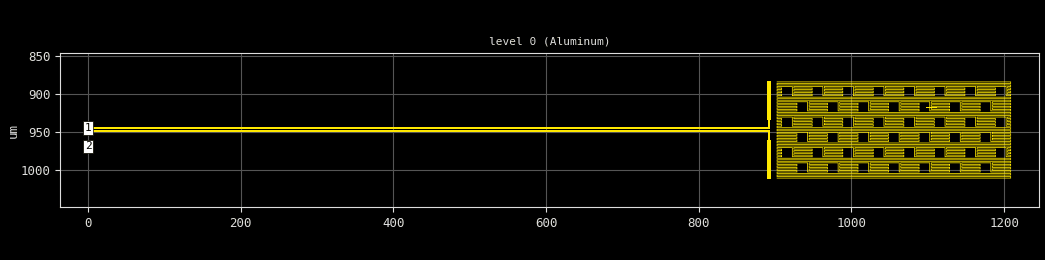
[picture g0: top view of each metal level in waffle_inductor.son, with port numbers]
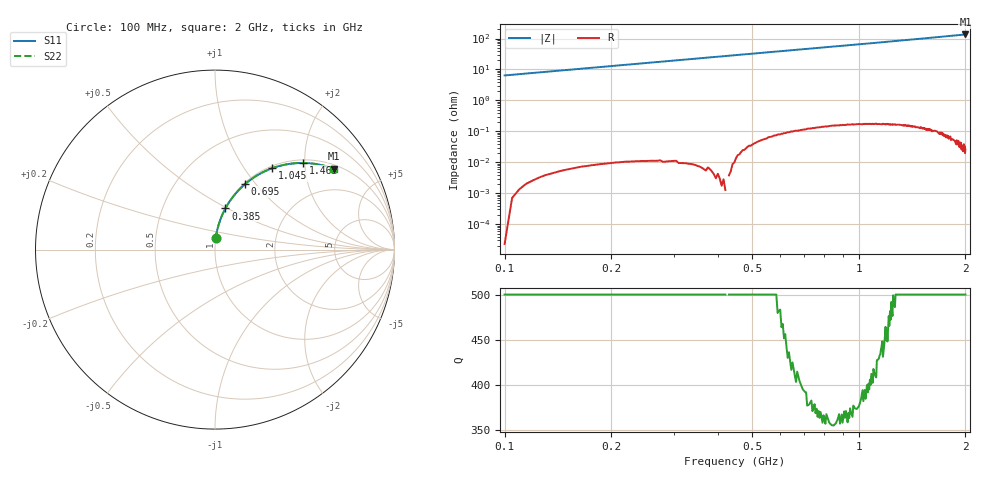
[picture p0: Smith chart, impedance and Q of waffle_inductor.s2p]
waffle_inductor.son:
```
FTYP SONPROJ 12 ! Sonnet Project File
VER 14.52
HEADER
LIC caltech1.1.46475
DAT 08/15/2018 22:09:38
BUILT_BY_CREATED dxf 14.52 08/15/2018 21:07:33
BUILT_BY_SAVED xgeom 14.52
MDATE 08/15/2018 22:09:38
HDATE 08/15/2018 22:08:19
ANN Created by dxfgeo, Sonnet Software Inc.
END HEADER
DIM
FREQ MHZ
IND NH
LNG UM
ANG DEG
CON /OH
CAP PF
RES OH
END DIM
FREQ
ABS 100.0 2000.0 
END FREQ
CONTROL
ABS
OPTIONS  -d 
SPEED 0
CACHE_ABS 1
TARG_ABS 300
Q_ACC N
END CONTROL
GEO
DRP1 LEFT FIX 479
TMET "Lossless" 0 SUP 0 0 0 0
BMET "Lossless" 0 SUP 0 0 0 0
MET "Aluminum" 12 SUP 0 0 0 0.24
MET "Niobium" 1 SUP 0 0 0 0.158
BOX 2 2000 2000 4000 4000 20 0
      2000 1 1 0 0 0 0 "Air"
      500 11.9 1 0.004 0 0.00044 0 "Silicon (intrinsic)"
      1651 4.8 1 0.025 0 0 0 "G-10"
TECHLAY METAL Aluminum L3D0 -1 0 
0 0 0 N 0 1 1 100 100 0 0 0 Y
END
END
TECHLAY METAL Niobium <UNSPECIFIED> -2 0 
0 0 1 N 0 1 1 100 100 0 0 0 Y
END
END
LORGN 0 2000 U 
POR1 STD
POLY 36 1
3
1 50 0 0 0 0 945 
POR1 STD
POLY 37 1
3
2 50 0 0 0 0 949 
NUM 10
0 1517 0 N 11 1 1 100 100 0 0 0 Y
TLAYNAM Aluminum INH
902 1011
902 1010
1208 1010
1208 1009
902 1009
902 1006
1208 1006
1208 1005
902 1005
902 1002
928 1002
928 1001
902 1001
902 998
928 998
928 997
902 997
902 994
928 994
928 993
902 993
902 990
943 990
943 1002
968 1002
968 1001
944 1001
944 998
968 998
968 997
944 997
944 994
968 994
968 993
944 993
944 990
983 990
983 1002
1008 1002
1008 1001
984 1001
984 998
1008 998
1008 997
984 997
984 994
1008 994
1008 993
984 993
984 990
1023 990
1023 1002
1048 1002
1048 1001
1024 1001
1024 998
1048 998
1048 997
1024 997
1024 994
1048 994
1048 993
1024 993
1024 990
1063 990
1063 1002
1088 1002
1088 1001
1064 1001
1064 998
1088 998
1088 997
1064 997
1064 994
1088 994
1088 993
1064 993
1064 990
1103 990
1103 1002
1128 1002
1128 1001
1104 1001
1104 998
1128 998
1128 997
1104 997
1104 994
1128 994
1128 993
1104 993
1104 990
1143 990
1143 1002
1168 1002
1168 1001
1144 1001
1144 998
1168 998
1168 997
1144 997
1144 994
1168 994
1168 993
1144 993
1144 990
1183 990
1183 1002
1208 1002
1208 1001
1184 1001
1184 998
1208 998
1208 997
1184 997
1184 994
1208 994
1208 993
1184 993
1184 990
1208 990
1208 989
902 989
902 986
1208 986
1208 985
902 985
902 982
908 982
908 981
902 981
902 978
908 978
908 977
902 977
902 974
908 974
908 973
902 973
902 970
923 970
923 982
948 982
948 981
924 981
924 978
948 978
948 977
924 977
924 974
948 974
948 973
924 973
924 970
963 970
963 982
988 982
988 981
964 981
964 978
988 978
988 977
964 977
964 974
988 974
988 973
964 973
964 970
1003 970
1003 982
1028 982
1028 981
1004 981
1004 978
1028 978
1028 977
1004 977
1004 974
1028 974
1028 973
1004 973
1004 970
1043 970
1043 982
1068 982
1068 981
1044 981
1044 978
1068 978
1068 977
1044 977
1044 974
1068 974
1068 973
1044 973
1044 970
1083 970
1083 982
1108 982
1108 981
1084 981
1084 978
1108 978
1108 977
1084 977
1084 974
1108 974
1108 973
1084 973
1084 970
1123 970
1123 982
1148 982
1148 981
1124 981
1124 978
1148 978
1148 977
1124 977
1124 974
1148 974
1148 973
1124 973
1124 970
1163 970
1163 982
1188 982
1188 981
1164 981
1164 978
1188 978
1188 977
1164 977
1164 974
1188 974
1188 973
1164 973
1164 970
1203 970
1203 982
1208 982
1208 981
1204 981
1204 978
1208 978
1208 977
1204 977
1204 974
1208 974
1208 973
1204 973
1204 970
1208 970
1208 969
902 969
902 966
1208 966
1208 965
902 965
902 962
928 962
928 961
902 961
902 958
928 958
928 957
902 957
902 954
928 954
928 953
902 953
902 950
943 950
943 962
968 962
968 961
944 961
944 958
968 958
968 957
944 957
944 954
968 954
968 953
944 953
944 950
983 950
983 962
1008 962
1008 961
984 961
984 958
1008 958
1008 957
984 957
984 954
1008 954
1008 953
984 953
984 950
1023 950
1023 962
1048 962
1048 961
1024 961
1024 958
1048 958
1048 957
1024 957
1024 954
1048 954
1048 953
1024 953
1024 950
1063 950
1063 962
1088 962
1088 961
1064 961
1064 958
1088 958
1088 957
1064 957
1064 954
1088 954
1088 953
1064 953
1064 950
1103 950
1103 962
1128 962
1128 961
1104 961
1104 958
1128 958
1128 957
1104 957
1104 954
1128 954
1128 953
1104 953
1104 950
1143 950
1143 962
1168 962
1168 961
1144 961
1144 958
1168 958
1168 957
1144 957
1144 954
1168 954
1168 953
1144 953
1144 950
1183 950
1183 962
1208 962
1208 961
1184 961
1184 958
1208 958
1208 957
1184 957
1184 954
1208 954
1208 953
1184 953
1184 950
1208 950
1208 949
902 949
902 946
1208 946
1208 945
902 945
902 942
908 942
908 941
902 941
902 938
908 938
908 937
902 937
902 934
908 934
908 933
902 933
902 930
923 930
923 942
948 942
948 941
924 941
924 938
948 938
948 937
924 937
924 934
948 934
948 933
924 933
924 930
963 930
963 942
988 942
988 941
964 941
964 938
988 938
988 937
964 937
964 934
988 934
988 933
964 933
964 930
1003 930
1003 942
1028 942
1028 941
1004 941
1004 938
1028 938
1028 937
1004 937
1004 934
1028 934
1028 933
1004 933
1004 930
1043 930
1043 942
1068 942
1068 941
1044 941
1044 938
1068 938
1068 937
1044 937
1044 934
1068 934
1068 933
1044 933
1044 930
1083 930
1083 942
1108 942
1108 941
1084 941
1084 938
1108 938
1108 937
1084 937
1084 934
1108 934
1108 933
1084 933
1084 930
1123 930
1123 942
1148 942
1148 941
1124 941
1124 938
1148 938
1148 937
1124 937
1124 934
1148 934
1148 933
1124 933
1124 930
1163 930
1163 942
1188 942
1188 941
1164 941
1164 938
1188 938
1188 937
1164 937
1164 934
1188 934
1188 933
1164 933
1164 930
1203 930
1203 942
1208 942
1208 941
1204 941
1204 938
1208 938
1208 937
1204 937
1204 934
1208 934
1208 933
1204 933
1204 930
1208 930
1208 929
902 929
902 926
1208 926
1208 925
902 925
902 922
928 922
928 921
902 921
902 918
928 918
928 917
902 917
902 914
928 914
928 913
902 913
902 910
943 910
943 922
968 922
968 921
944 921
944 918
968 918
968 917
944 917
944 914
968 914
968 913
944 913
944 910
983 910
983 922
1008 922
1008 921
984 921
984 918
1008 918
1008 917
984 917
984 914
1008 914
1008 913
984 913
984 910
1023 910
1023 922
1048 922
1048 921
1024 921
1024 918
1048 918
1048 917
1024 917
1024 914
1048 914
1048 913
1024 913
1024 910
1063 910
1063 922
1088 922
1088 921
1064 921
1064 918
1088 918
1088 917
1064 917
1064 914
1088 914
1088 913
1064 913
1064 910
1103 910
1103 922
1128 922
1128 921
1104 921
1104 918
1128 918
1128 917
1104 917
1104 914
1128 914
1128 913
1104 913
1104 910
1143 910
1143 922
1168 922
1168 921
1144 921
1144 918
1168 918
1168 917
1144 917
1144 914
1168 914
1168 913
1144 913
1144 910
1183 910
1183 922
1208 922
1208 921
1184 921
1184 918
1208 918
1208 917
1184 917
1184 914
1208 914
1208 913
1184 913
1184 910
1208 910
1208 909
902 909
902 906
1208 906
1208 905
902 905
902 902
908 902
908 901
902 901
902 898
908 898
908 897
902 897
902 894
908 894
908 893
902 893
902 890
923 890
923 902
948 902
948 901
924 901
924 898
948 898
948 897
924 897
924 894
948 894
948 893
924 893
924 890
963 890
963 902
988 902
988 901
964 901
964 898
988 898
988 897
964 897
964 894
988 894
988 893
964 893
964 890
1003 890
1003 902
1028 902
1028 901
1004 901
1004 898
1028 898
1028 897
1004 897
1004 894
1028 894
1028 893
1004 893
1004 890
1043 890
1043 902
1068 902
1068 901
1044 901
1044 898
1068 898
1068 897
1044 897
1044 894
1068 894
1068 893
1044 893
1044 890
1083 890
1083 902
1108 902
1108 901
1084 901
1084 898
1108 898
1108 897
1084 897
1084 894
1108 894
1108 893
1084 893
1084 890
1123 890
1123 902
1148 902
1148 901
1124 901
1124 898
1148 898
1148 897
1124 897
1124 894
1148 894
1148 893
1124 893
1124 890
1163 890
1163 902
1188 902
1188 901
1164 901
1164 898
1188 898
1188 897
1164 897
1164 894
1188 894
1188 893
1164 893
1164 890
1203 890
1203 902
1208 902
1208 901
1204 901
1204 898
1208 898
1208 897
1204 897
1204 894
1208 894
1208 893
1204 893
1204 890
1208 890
1208 889
902 889
902 886
1208 886
1208 885
902 885
902 884
1209 884
1209 887
903 887
903 888
1209 888
1209 891
1205 891
1205 892
1209 892
1209 895
1205 895
1205 896
1209 896
1209 899
1205 899
1205 900
1209 900
1209 903
1202 903
1202 891
1165 891
1165 892
1189 892
1189 895
1165 895
1165 896
1189 896
1189 899
1165 899
1165 900
1189 900
1189 903
1162 903
1162 891
1125 891
1125 892
1149 892
1149 895
1125 895
1125 896
1149 896
1149 899
1125 899
1125 900
1149 900
1149 903
1122 903
1122 891
1085 891
1085 892
1109 892
1109 895
1085 895
1085 896
1109 896
1109 899
1085 899
1085 900
1109 900
1109 903
1082 903
1082 891
1045 891
1045 892
1069 892
1069 895
1045 895
1045 896
1069 896
1069 899
1045 899
1045 900
1069 900
1069 903
1042 903
1042 891
1005 891
1005 892
1029 892
1029 895
1005 895
1005 896
1029 896
1029 899
1005 899
1005 900
1029 900
1029 903
1002 903
1002 891
965 891
965 892
989 892
989 895
965 895
965 896
989 896
989 899
965 899
965 900
989 900
989 903
962 903
962 891
925 891
925 892
949 892
949 895
925 895
925 896
949 896
949 899
925 899
925 900
949 900
949 903
922 903
922 891
903 891
903 892
909 892
909 895
903 895
903 896
909 896
909 899
903 899
903 900
909 900
909 903
903 903
903 904
1209 904
1209 907
903 907
903 908
1209 908
1209 911
1185 911
1185 912
1209 912
1209 915
1185 915
1185 916
1209 916
1209 919
1185 919
1185 920
1209 920
1209 923
1182 923
1182 911
1145 911
1145 912
1169 912
1169 915
1145 915
1145 916
1169 916
1169 919
1145 919
1145 920
1169 920
1169 923
1142 923
1142 911
1105 911
1105 912
1129 912
1129 915
1105 915
1105 916
1129 916
1129 919
1105 919
1105 920
1129 920
1129 923
1102 923
1102 911
1065 911
1065 912
1089 912
1089 915
1065 915
1065 916
1089 916
1089 919
1065 919
1065 920
1089 920
1089 923
1062 923
1062 911
1025 911
1025 912
1049 912
1049 915
1025 915
1025 916
1049 916
1049 919
1025 919
1025 920
1049 920
1049 923
1022 923
1022 911
985 911
985 912
1009 912
1009 915
985 915
985 916
1009 916
1009 919
985 919
985 920
1009 920
1009 923
982 923
982 911
945 911
945 912
969 912
969 915
945 915
945 916
969 916
969 919
945 919
945 920
969 920
969 923
942 923
942 911
903 911
903 912
929 912
929 915
903 915
903 916
929 916
929 919
903 919
903 920
929 920
929 923
903 923
903 924
1209 924
1209 927
903 927
903 928
1209 928
1209 931
1205 931
1205 932
1209 932
1209 935
1205 935
1205 936
1209 936
1209 939
1205 939
1205 940
1209 940
1209 943
1202 943
1202 931
1165 931
1165 932
1189 932
1189 935
1165 935
1165 936
1189 936
1189 939
1165 939
1165 940
1189 940
1189 943
1162 943
1162 931
1125 931
1125 932
1149 932
1149 935
1125 935
1125 936
1149 936
1149 939
1125 939
1125 940
1149 940
1149 943
1122 943
1122 931
1085 931
1085 932
1109 932
1109 935
1085 935
1085 936
1109 936
1109 939
1085 939
1085 940
1109 940
1109 943
1082 943
1082 931
1045 931
1045 932
1069 932
1069 935
1045 935
1045 936
1069 936
1069 939
1045 939
1045 940
1069 940
1069 943
1042 943
1042 931
1005 931
1005 932
1029 932
1029 935
1005 935
1005 936
1029 936
1029 939
1005 939
1005 940
1029 940
1029 943
1002 943
1002 931
965 931
965 932
989 932
989 935
965 935
965 936
989 936
989 939
965 939
965 940
989 940
989 943
962 943
962 931
925 931
925 932
949 932
949 935
925 935
925 936
949 936
949 939
925 939
925 940
949 940
949 943
922 943
922 931
903 931
903 932
909 932
909 935
903 935
903 936
909 936
909 939
903 939
903 940
909 940
909 943
903 943
903 944
1209 944
1209 947
903 947
903 948
1209 948
1209 951
1185 951
1185 952
1209 952
1209 955
1185 955
1185 956
1209 956
1209 959
1185 959
1185 960
1209 960
1209 963
1182 963
1182 951
1145 951
1145 952
1169 952
1169 955
1145 955
1145 956
1169 956
1169 959
1145 959
1145 960
1169 960
1169 963
1142 963
1142 951
1105 951
1105 952
1129 952
1129 955
1105 955
1105 956
1129 956
1129 959
1105 959
1105 960
1129 960
1129 963
1102 963
1102 951
1065 951
1065 952
1089 952
1089 955
1065 955
1065 956
1089 956
1089 959
1065 959
1065 960
1089 960
1089 963
1062 963
1062 951
1025 951
1025 952
1049 952
1049 955
1025 955
1025 956
1049 956
1049 959
1025 959
1025 960
1049 960
1049 963
1022 963
1022 951
985 951
985 952
1009 952
1009 955
985 955
985 956
1009 956
1009 959
985 959
985 960
1009 960
1009 963
982 963
982 951
945 951
945 952
969 952
969 955
945 955
945 956
969 956
969 959
945 959
945 960
969 960
969 963
942 963
942 951
903 951
903 952
929 952
929 955
903 955
903 956
929 956
929 959
903 959
903 960
929 960
929 963
903 963
903 964
1209 964
1209 967
903 967
903 968
1209 968
1209 971
1205 971
1205 972
1209 972
1209 975
1205 975
1205 976
1209 976
1209 979
1205 979
1205 980
1209 980
1209 983
1202 983
1202 971
1165 971
1165 972
1189 972
1189 975
1165 975
1165 976
1189 976
1189 979
1165 979
1165 980
1189 980
1189 983
1162 983
1162 971
1125 971
1125 972
1149 972
1149 975
1125 975
1125 976
1149 976
1149 979
1125 979
1125 980
1149 980
1149 983
1122 983
1122 971
1085 971
1085 972
1109 972
1109 975
1085 975
1085 976
1109 976
1109 979
1085 979
1085 980
1109 980
1109 983
1082 983
1082 971
1045 971
1045 972
1069 972
1069 975
1045 975
1045 976
1069 976
1069 979
1045 979
1045 980
1069 980
1069 983
1042 983
1042 971
1005 971
1005 972
1029 972
1029 975
1005 975
1005 976
1029 976
1029 979
1005 979
1005 980
1029 980
1029 983
1002 983
1002 971
965 971
965 972
989 972
989 975
965 975
965 976
989 976
989 979
965 979
965 980
989 980
989 983
962 983
962 971
925 971
925 972
949 972
949 975
925 975
925 976
949 976
949 979
925 979
925 980
949 980
949 983
922 983
922 971
903 971
903 972
909 972
909 975
903 975
903 976
909 976
909 979
903 979
903 980
909 980
909 983
903 983
903 984
1209 984
1209 987
903 987
903 988
1209 988
1209 991
1185 991
1185 992
1209 992
1209 995
1185 995
1185 996
1209 996
1209 999
1185 999
1185 1000
1209 1000
1209 1003
1182 1003
1182 991
1145 991
1145 992
1169 992
1169 995
1145 995
1145 996
1169 996
1169 999
1145 999
1145 1000
1169 1000
1169 1003
1142 1003
1142 991
1105 991
1105 992
1129 992
1129 995
1105 995
1105 996
1129 996
1129 999
1105 999
1105 1000
1129 1000
1129 1003
1102 1003
1102 991
1065 991
1065 992
1089 992
1089 995
1065 995
1065 996
1089 996
1089 999
1065 999
1065 1000
1089 1000
1089 1003
1062 1003
1062 991
1025 991
1025 992
1049 992
1049 995
1025 995
1025 996
1049 996
1049 999
1025 999
1025 1000
1049 1000
1049 1003
1022 1003
1022 991
985 991
985 992
1009 992
1009 995
985 995
985 996
1009 996
1009 999
985 999
985 1000
1009 1000
1009 1003
982 1003
982 991
945 991
945 992
969 992
969 995
945 995
945 996
969 996
969 999
945 999
945 1000
969 1000
969 1003
942 1003
942 991
903 991
903 992
929 992
929 995
903 995
903 996
929 996
929 999
903 999
903 1000
929 1000
929 1003
903 1003
903 1004
1209 1004
1209 1007
903 1007
903 1008
1209 1008
1209 1011
902 1011
END
0 5 0 N 12 1 1 100 100 0 0 0 Y
TLAYNAM Aluminum INH
890 1011
890 1010
904 1010
904 1011
890 1011
END
0 5 0 N 13 1 1 100 100 0 0 0 Y
TLAYNAM Aluminum INH
890 885
890 884
904 884
904 885
890 885
END
0 5 0 N 14 1 1 100 100 0 0 0 Y
TLAYNAM Aluminum INH
890 933
890 884
893 884
893 933
890 933
END
0 5 0 N 15 1 1 100 100 0 0 0 Y
TLAYNAM Aluminum INH
890 1010
890 962
893 962
893 1010
890 1010
END
0 5 0 N 24 1 1 100 100 0 0 0 Y
TLAYNAM Aluminum INH
1112 919
1098 919
1098 917
1112 917
1112 919
END
0 5 1 N 36 1 1 100 100 0 0 0 Y
TLAYNAM Niobium INH
0 944
479 944
479 946
0 946
0 944
END
0 5 1 N 37 1 1 100 100 0 0 0 Y
TLAYNAM Niobium INH
0 948
479 948
479 950
0 950
0 948
END
0 11 1 N 35 1 1 100 100 0 0 0 Y
TLAYNAM Niobium INH
891 944
891 934
889 934
889 883
894 883
894 934
893 934
893 946
479 946
479 944
891 944
END
0 11 1 N 33 1 1 100 100 0 0 0 Y
TLAYNAM Niobium INH
889 1012
889 961
891 961
891 950
479 950
479 948
893 948
893 961
894 961
894 1012
889 1012
END
END GEO
OPT
MAX 100
VARS
END
END OPT
VARSWP
END VARSWP
QSG
IMPORT YES
EXTRA_METAL NO
UNITS NO
ALIGN NO
REF NO
VIEW_RES NO
METALS NO
USED YES
END QSG
```
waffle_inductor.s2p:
! Sonnet Data File
! From: em Version : 14.52
! From Project: waffle_inductor
! Data is De-embedded
! Data File Written: 08/15/2018 22:10:21
!< ->  Created by dxfgeo, Sonnet Software Inc.
!< HDATE 08/15/2018 22:08:19
!< MDATE 08/15/2018 22:09:38
# MHZ S MA R 50.00000
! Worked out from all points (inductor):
!   381 points, 100 MHz to 2 GHz, reference 50 ohm
!   read as one part in series: L = 10.2 nH near 105 MHz
!   highest |Z| = 135 ohm at 2 GHz (marker M1)
!   S11 on the Smith chart (normalised r, x): 100 MHz: 1.00, +0.13; 385 MHz: 1.00, +0.49; 695 MHz: 1.02, +0.89; 1.045 GHz: 1.03, +1.36; 1.465 GHz: 1.07, +1.96; 2 GHz: 1.13, +2.83
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100  0.06305 86.3  0.998 -3.7  0.998 -3.7  0.06305 86.3
!< P1 F=100.0 Eeff=(undefined: mp) Z0=(undefined: mp) R=0.0 C=0.0
!< P2 F=100.0 Eeff=(undefined: mp) Z0=(undefined: mp) R=0.0 C=0.0
150  0.09438 84.4  0.9955 -5.6  0.9955 -5.6  0.09438 84.4
210  0.1316 82.1  0.9912 -7.8  0.9912 -7.8  0.1316 82.1
290  0.1804 79.2  0.9834 -10.8  0.9834 -10.8  0.1804 79.2
385  0.2367 75.8  0.9715 -14.2  0.9715 -14.2  0.2367 75.8
525  0.3154 70.9  0.9483 -19.1  0.9483 -19.1  0.3154 70.9
695  0.4031 65.2  0.9137 -24.7  0.9137 -24.7  0.4031 65.2
1045  0.5546 54.9  0.8298 -35.0  0.8298 -35.0  0.5546 54.9
1050  0.5565 54.7  0.8286 -35.2  0.8286 -35.2  0.5565 54.7
1465  0.6879 44.6  0.7237 -45.4  0.7237 -45.4  0.6879 44.6
2000  0.7996 34.3  0.6001 -55.6  0.6001 -55.6  0.7996 34.4
